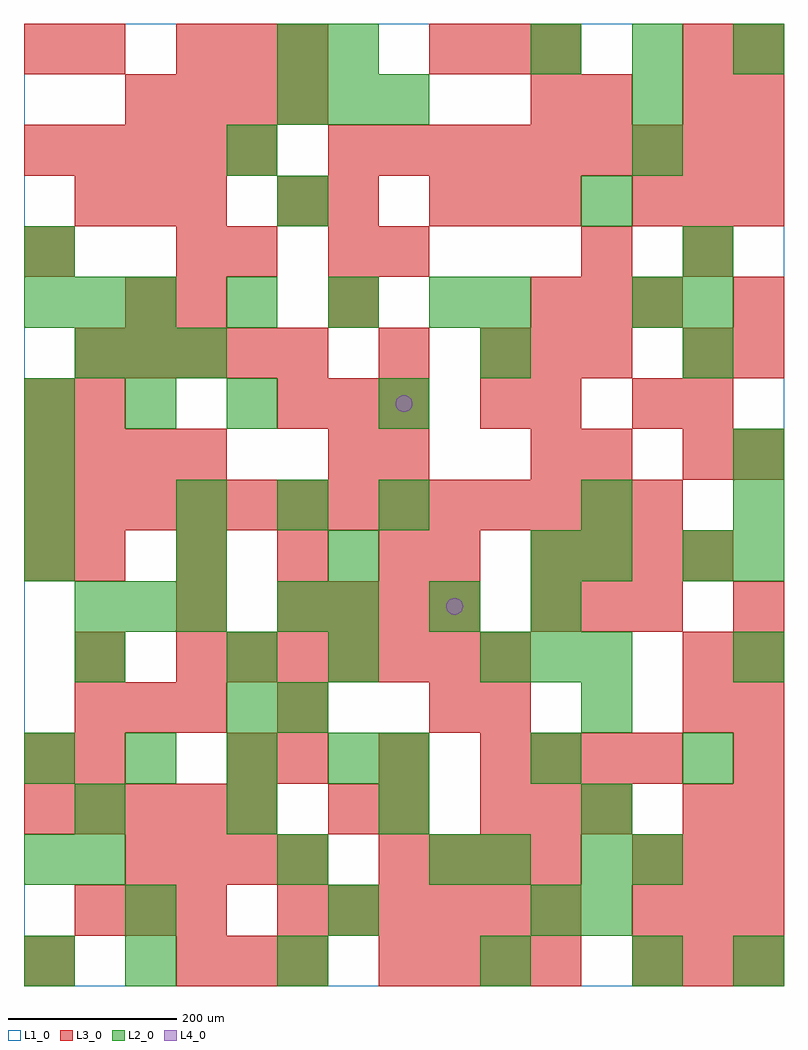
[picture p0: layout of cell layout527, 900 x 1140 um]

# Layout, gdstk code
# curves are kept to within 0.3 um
import gdstk
lib = gdstk.Library(unit=1e-6, precision=1e-09)
def R(c, l, rs):  # rectangles x0, y0, x1, y1
    for r in rs: c.add(gdstk.rectangle(r[:2], r[2:], *l))
def A(c, l, x, y, w, h, nx, ny, dx, dy):  # array of equal rectangles
    R(c, l, [(x+i*dx, y+j*dy, x+i*dx+w, y+j*dy+h) for i in range(nx) for j in range(ny)])
def P(c, l, *ps):  # polygons
    for p in ps: c.add(gdstk.Polygon(p, *l))
L1_0 = (1, 0)
L2_0 = (2, 0)
L3_0 = (3, 0)
L4_0 = (4, 0)

layout527 = lib.new_cell('layout527')
R(layout527, L1_0, [(0,0,900,1140)])
A(layout527, L2_0, 120, 60, 60, 60, 3, 1, 240, 0)
A(layout527, L2_0, 660, 60, 60, 60, 1, 3, 0, 60)
A(layout527, L2_0, 60, 180, 60, 60, 3, 1, 180, 0)
A(layout527, L2_0, 0, 240, 60, 60, 4, 1, 120, 0)
A(layout527, L2_0, 420, 240, 60, 60, 3, 1, 180, 0)
A(layout527, L2_0, 540, 360, 60, 60, 3, 1, 60, 0)
A(layout527, L2_0, 60, 420, 60, 60, 3, 2, 60, 300)
A(layout527, L2_0, 360, 420, 60, 60, 3, 1, 120, 0)
A(layout527, L2_0, 0, 480, 60, 60, 3, 1, 180, 0)
A(layout527, L2_0, 840, 480, 60, 60, 1, 3, 0, 60)
A(layout527, L2_0, 180, 540, 60, 60, 3, 1, 120, 0)
A(layout527, L2_0, 0, 660, 60, 60, 3, 1, 120, 0)
A(layout527, L2_0, 780, 720, 60, 60, 1, 3, 0, 60)
A(layout527, L2_0, 0, 780, 60, 60, 3, 1, 60, 0)
A(layout527, L2_0, 240, 780, 60, 60, 3, 1, 120, 0)
A(layout527, L2_0, 300, 1020, 60, 60, 3, 1, 60, 0)
A(layout527, L2_0, 600, 1080, 60, 60, 3, 1, 120, 0)
R(layout527, L2_0, [(0,0,60,60), (120,0,180,60), (300,0,360,60), (540,0,600,60), (720,0,780,60), (840,0,900,60), (0,120,60,180), (60,120,120,180), (300,120,360,180), (480,120,540,180), (540,120,600,180), (720,120,780,180), (240,300,300,360), (300,300,360,360), (660,300,720,360), (60,360,120,420), (240,360,300,420), (360,360,420,420), (840,360,900,420), (300,420,360,480), (600,480,660,540), (660,480,720,540), (780,480,840,540), (0,540,60,600), (660,540,720,600), (0,600,60,660), (420,660,480,720), (540,720,600,780), (540,780,600,840), (720,780,780,840), (0,840,60,900), (300,900,360,960), (660,900,720,960), (240,960,300,1020), (720,960,780,1020), (720,1020,780,1080), (300,1080,360,1140), (360,1080,420,1140)])
A(layout527, L3_0, 0, 0, 60, 60, 1, 3, 0, 240)
A(layout527, L3_0, 180, 0, 60, 60, 3, 2, 60, 1080)
A(layout527, L3_0, 420, 0, 60, 60, 4, 2, 60, 120)
A(layout527, L3_0, 720, 0, 60, 60, 3, 3, 60, 60)
A(layout527, L3_0, 60, 60, 60, 60, 3, 2, 60, 240)
A(layout527, L3_0, 300, 60, 60, 60, 6, 1, 60, 0)
A(layout527, L3_0, 120, 120, 60, 60, 4, 2, 60, 900)
A(layout527, L3_0, 0, 180, 60, 60, 5, 2, 60, 780)
A(layout527, L3_0, 540, 180, 60, 60, 3, 2, 60, 540)
A(layout527, L3_0, 840, 180, 60, 60, 1, 5, 0, 60)
A(layout527, L3_0, 300, 240, 60, 60, 3, 1, 120, 0)
A(layout527, L3_0, 600, 240, 60, 60, 3, 2, 60, 180)
A(layout527, L3_0, 180, 360, 60, 60, 7, 1, 60, 0)
A(layout527, L3_0, 300, 420, 60, 60, 4, 1, 60, 0)
A(layout527, L3_0, 60, 480, 60, 60, 4, 1, 120, 0)
A(layout527, L3_0, 600, 480, 60, 60, 4, 1, 60, 0)
A(layout527, L3_0, 0, 540, 60, 60, 13, 1, 60, 0)
A(layout527, L3_0, 0, 600, 60, 60, 4, 1, 60, 0)
A(layout527, L3_0, 420, 600, 60, 60, 1, 3, 0, 120)
A(layout527, L3_0, 780, 600, 60, 60, 1, 3, 0, 60)
A(layout527, L3_0, 300, 660, 60, 60, 3, 1, 60, 0)
A(layout527, L3_0, 60, 720, 60, 60, 5, 1, 60, 0)
A(layout527, L3_0, 360, 780, 60, 60, 1, 3, 0, 60)
A(layout527, L3_0, 600, 780, 60, 60, 3, 1, 60, 0)
A(layout527, L3_0, 60, 900, 60, 60, 3, 1, 60, 0)
A(layout527, L3_0, 480, 900, 60, 60, 3, 2, 60, 180)
A(layout527, L3_0, 720, 900, 60, 60, 3, 1, 60, 0)
A(layout527, L3_0, 360, 960, 60, 60, 9, 1, 60, 0)
R(layout527, L3_0, [(360,180,420,240), (420,180,480,240), (780,180,840,240), (60,240,120,300), (240,240,300,300), (300,300,360,360), (480,300,540,360), (540,300,600,360), (780,300,840,360), (60,360,120,420), (780,360,840,420), (180,420,240,480), (480,480,540,540), (360,600,420,660), (600,600,660,660), (660,600,720,660), (840,600,900,660), (0,660,60,720), (60,660,120,720), (540,660,600,720), (600,660,660,720), (720,660,780,720), (840,720,900,780), (120,780,180,840), (180,780,240,840), (840,780,900,840), (0,840,60,900), (180,840,240,900), (240,840,300,900), (660,840,720,900), (780,840,840,900), (300,900,360,960), (600,1020,660,1080), (660,1020,720,1080), (780,1020,840,1080), (840,1020,900,1080), (0,1080,60,1140), (60,1080,120,1140), (780,1080,840,1140), (840,1080,900,1140)])
P(layout527, L4_0, [(460,690),(459.239,693.827),(457.071,697.071),(453.827,699.239),(450,700),(446.173,699.239),(442.929,697.071),(440.761,693.827),(440,690),(440.761,686.173),(442.929,682.929),(446.173,680.761),(450,680),(453.827,680.761),(457.071,682.929),(459.239,686.173)],
  [(520,450),(519.239,453.827),(517.071,457.071),(513.827,459.239),(510,460),(506.173,459.239),(502.929,457.071),(500.761,453.827),(500,450),(500.761,446.173),(502.929,442.929),(506.173,440.761),(510,440),(513.827,440.761),(517.071,442.929),(519.239,446.173)])

lib.write_gds('layout527.gds')
